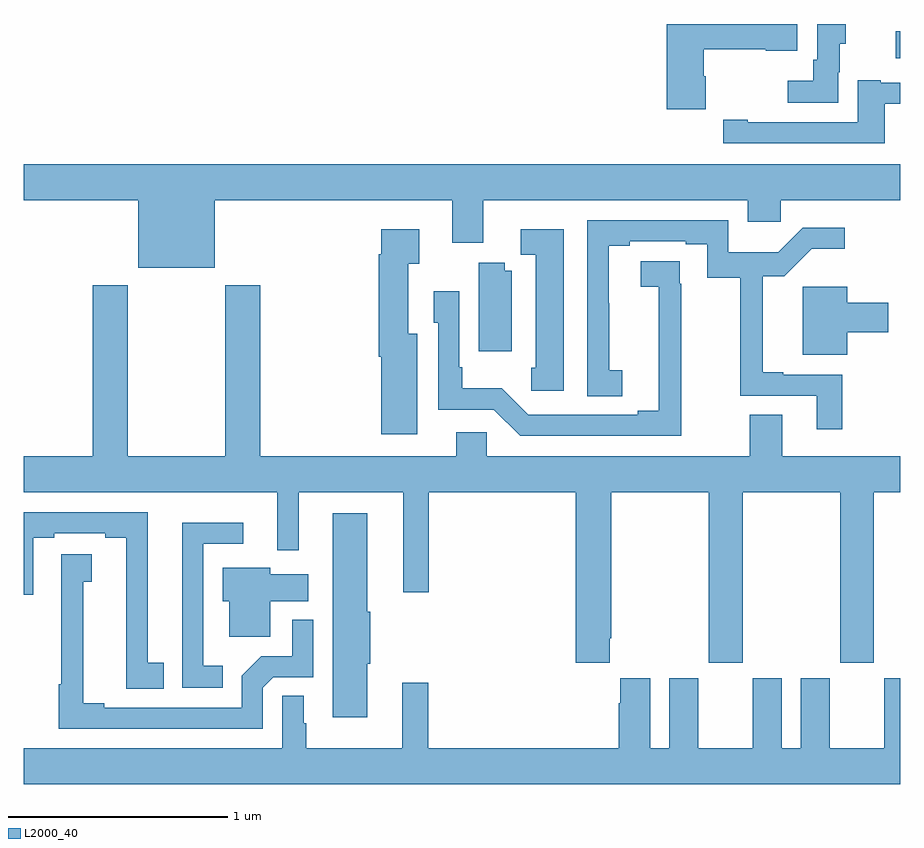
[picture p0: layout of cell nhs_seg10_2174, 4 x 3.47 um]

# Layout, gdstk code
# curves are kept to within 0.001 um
import gdstk
lib = gdstk.Library(unit=1e-6, precision=1e-09)
def R(c, l, rs):  # rectangles x0, y0, x1, y1
    for r in rs: c.add(gdstk.rectangle(r[:2], r[2:], *l))
def P(c, l, *ps):  # polygons
    for p in ps: c.add(gdstk.Polygon(p, *l))
L2000_40 = (2000, 40)

nhs_seg10_2174 = lib.new_cell('nhs_seg10_2174')
R(nhs_seg10_2174, L2000_40, [(230.979,1254.344,231,1254.466)])
P(nhs_seg10_2174, L2000_40, [(230.112,1254.261),(230.104,1254.261),(230.104,1254.384),(230.385,1254.384),(230.385,1254.377),(230.53,1254.377),(230.53,1254.5),(229.934,1254.5),(229.934,1254.111),(230.112,1254.111)],
  [(230.718,1254.279),(230.723,1254.279),(230.723,1254.41),(230.752,1254.41),(230.752,1254.5),(230.621,1254.5),(230.621,1254.337),(230.602,1254.337),(230.602,1254.241),(230.487,1254.241),(230.487,1254.14),(230.718,1254.14)],
  [(230.929,1254.135),(231,1254.135),(231,1254.231),(230.911,1254.231),(230.911,1254.244),(230.807,1254.244),(230.807,1254.051),(230.305,1254.051),(230.305,1254.064),(230.193,1254.064),(230.193,1253.955),(230.929,1253.955)],
  [(227.872,1253.696),(228.956,1253.696),(228.956,1253.502),(229.096,1253.502),(229.096,1253.696),(230.303,1253.696),(230.303,1253.598),(230.455,1253.598),(230.455,1253.696),(231,1253.696),(231,1253.86),(227,1253.86),(227,1253.696),(227.522,1253.696),(227.522,1253.387),(227.872,1253.387)],
  [(230.735,1252.899),(230.467,1252.899),(230.467,1252.912),(230.372,1252.912),(230.372,1253.349),(230.471,1253.349),(230.597,1253.474),(230.746,1253.474),(230.746,1253.571),(230.556,1253.571),(230.443,1253.458),(230.214,1253.458),(230.214,1253.604),(229.572,1253.604),(229.572,1252.801),(229.732,1252.801),(229.732,1252.921),(229.671,1252.921),(229.671,1253.225),(229.669,1253.225),(229.669,1253.488),(229.765,1253.488),(229.765,1253.508),(230.021,1253.508),(230.021,1253.494),(230.118,1253.494),(230.118,1253.341),(230.269,1253.341),(230.269,1252.803),(230.618,1252.803),(230.618,1252.65),(230.735,1252.65)],
  [(229.465,1253.563),(229.269,1253.563),(229.269,1253.448),(229.337,1253.448),(229.337,1252.932),(229.315,1252.932),(229.315,1252.827),(229.465,1252.827)],
  [(228.796,1253.086),(228.754,1253.086),(228.754,1253.407),(228.805,1253.407),(228.805,1253.563),(228.632,1253.563),(228.632,1253.45),(228.62,1253.45),(228.62,1252.982),(228.632,1252.982),(228.632,1252.629),(228.796,1252.629)],
  [(230,1253.315),(229.994,1253.315),(229.994,1253.417),(229.815,1253.417),(229.815,1253.302),(229.897,1253.302),(229.898,1252.736),(229.802,1252.736),(229.802,1252.716),(229.302,1252.716),(229.181,1252.837),(229,1252.837),(229,1252.933),(228.987,1252.933),(228.987,1253.281),(228.87,1253.281),(228.87,1253.136),(228.891,1253.136),(228.891,1252.74),(229.146,1252.74),(229.266,1252.62),(230,1252.62)],
  [(229.228,1253.374),(229.196,1253.374),(229.196,1253.411),(229.076,1253.411),(229.076,1253.007),(229.228,1253.007)],
  [(228.974,1252.638),(228.974,1252.528),(228.08,1252.528),(228.08,1253.308),(227.92,1253.308),(227.92,1252.528),(227.475,1252.528),(227.475,1253.308),(227.315,1253.308),(227.315,1252.528),(227,1252.528),(227,1252.364),(228.158,1252.364),(228.158,1252.098),(228.256,1252.098),(228.256,1252.364),(228.731,1252.364),(228.731,1251.906),(228.848,1251.906),(228.848,1252.364),(229.52,1252.364),(229.52,1251.585),(229.675,1251.585),(229.675,1251.697),(229.68,1251.697),(229.68,1252.364),(230.125,1252.364),(230.125,1251.585),(230.28,1251.585),(230.28,1252.364),(230.725,1252.364),(230.725,1251.585),(230.88,1251.585),(230.88,1252.364),(231,1252.364),(231,1252.528),(230.461,1252.528),(230.461,1252.718),(230.314,1252.718),(230.314,1252.528),(229.113,1252.528),(229.113,1252.638)],
  [(230.758,1253.093),(230.944,1253.093),(230.944,1253.227),(230.758,1253.227),(230.758,1253.301),(230.555,1253.301),(230.555,1252.991),(230.758,1252.991)],
  [(227.639,1251.585),(227.566,1251.585),(227.566,1252.272),(227,1252.272),(227,1251.895),(227.043,1251.895),(227.043,1252.156),(227.14,1252.156),(227.14,1252.176),(227.372,1252.176),(227.372,1252.156),(227.468,1252.156),(227.468,1251.466),(227.639,1251.466)],
  [(228.568,1251.58),(228.581,1251.58),(228.581,1251.818),(228.568,1251.818),(228.568,1252.267),(228.41,1252.267),(228.41,1251.336),(228.568,1251.336)],
  [(227.909,1251.572),(227.82,1251.572),(227.82,1252.128),(228.001,1252.128),(228.001,1252.225),(227.723,1252.225),(227.723,1251.674),(227.724,1251.674),(227.724,1251.471),(227.909,1251.471)],
  [(228.09,1251.471),(228.138,1251.519),(228.321,1251.519),(228.321,1251.781),(228.225,1251.781),(228.225,1251.615),(228.084,1251.615),(227.994,1251.525),(227.994,1251.381),(227.368,1251.381),(227.368,1251.401),(227.272,1251.401),(227.272,1251.956),(227.311,1251.956),(227.311,1252.081),(227.171,1252.081),(227.171,1251.488),(227.161,1251.488),(227.161,1251.285),(228.09,1251.285)],
  [(228.124,1251.866),(228.298,1251.866),(228.298,1251.988),(228.124,1251.988),(228.124,1252.018),(227.909,1252.018),(227.909,1251.866),(227.939,1251.866),(227.939,1251.704),(228.124,1251.704)],
  [(230.546,1251.514),(230.546,1251.196),(230.458,1251.196),(230.458,1251.514),(230.327,1251.514),(230.327,1251.196),(230.077,1251.196),(230.077,1251.514),(229.946,1251.514),(229.946,1251.196),(229.858,1251.196),(229.858,1251.514),(229.721,1251.514),(229.721,1251.401),(229.715,1251.401),(229.715,1251.196),(228.845,1251.196),(228.845,1251.493),(228.728,1251.493),(228.728,1251.196),(228.289,1251.196),(228.289,1251.309),(228.277,1251.309),(228.277,1251.434),(228.18,1251.434),(228.18,1251.196),(227,1251.196),(227,1251.032),(231,1251.032),(231,1251.514),(230.927,1251.514),(230.927,1251.196),(230.677,1251.196),(230.677,1251.514)])

lib.write_gds('nhs_seg10_2174.gds')
